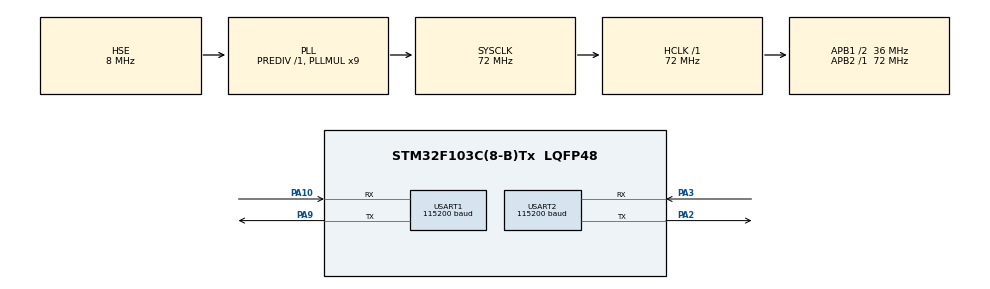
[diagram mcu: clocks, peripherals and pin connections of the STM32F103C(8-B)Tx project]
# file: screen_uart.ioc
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Mcu.Family=STM32F1
Mcu.Name=STM32F103C(8-B)Tx
Mcu.Package=LQFP48
NVIC.PriorityGroup=NVIC_PRIORITYGROUP_4
NVIC.USART1_IRQn=true\:1\:0\:true\:false\:true\:true\:true\:true
NVIC.USART2_IRQn=true\:1\:0\:true\:false\:true\:true\:true\:true
PA10.Mode=Asynchronous
PA10.Signal=USART1_RX
PA13.Mode=Serial_Wire
PA13.Signal=SYS_JTMS-SWDIO
PA14.Mode=Serial_Wire
PA14.Signal=SYS_JTCK-SWCLK
PA2.Mode=Asynchronous
PA2.Signal=USART2_TX
PA3.Mode=Asynchronous
PA3.Signal=USART2_RX
PA9.Mode=Asynchronous
PA9.Signal=USART1_TX
PD0-OSC_IN.Mode=HSE-External-Oscillator
PD0-OSC_IN.Signal=RCC_OSC_IN
PD1-OSC_OUT.Mode=HSE-External-Oscillator
PD1-OSC_OUT.Signal=RCC_OSC_OUT
ProjectManager.HeapSize=0x200
ProjectManager.StackSize=0x400
ProjectManager.TargetToolchain=MDK-ARM V5
RCC.AHBFreq_Value=72000000
RCC.APB1CLKDivider=RCC_HCLK_DIV2
RCC.APB1Freq_Value=36000000
RCC.APB1TimFreq_Value=72000000
RCC.APB2Freq_Value=72000000
RCC.APB2TimFreq_Value=72000000
RCC.HCLKFreq_Value=72000000
RCC.PLLMUL=RCC_PLL_MUL9
RCC.PLLSourceVirtual=RCC_PLLSOURCE_HSE
RCC.SYSCLKFreq_VALUE=72000000
RCC.SYSCLKSource=RCC_SYSCLKSOURCE_PLLCLK
RCC.USBFreq_Value=72000000
USART1.BaudRate=115200
USART1.VirtualMode=VM_ASYNC
USART2.BaudRate=115200
USART2.VirtualMode=VM_ASYNC
board=custom

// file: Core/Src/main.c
/* USER CODE BEGIN Header */
/**
  ******************************************************************************
  * @file           : main.c
  * @brief          : Main program body
  ******************************************************************************
  * @attention
  *
  * Copyright (c) 2024 STMicroelectronics.
  * All rights reserved.
  *
  * This software is licensed under terms that can be found in the LICENSE file
  * in the root directory of this software component.
  * If no LICENSE file comes with this software, it is provided AS-IS.
  *
  ******************************************************************************
  */
/* USER CODE END Header */
#include "main.h"

/* USER CODE BEGIN Includes */
#include "stdio.h"
#include "string.h"
#include "stdint.h"
#include "stdlib.h"
#include "receivedata.h"
#include "address.h"
#include "statusdisplay.h"
#include "Other.h"
#include "StateCheck.h"
#include "TimeCheck.h"
#include "StatusChanging.h"
#include "checksum.h"
#include "ResetData.h"
#include "DataCommand.h"
#include "checksum2.h"
#include "choice_selection.h"
#include "receivedata2.h"
#include "packagesending.h"
/* USER CODE END Includes */

UART_HandleTypeDef huart1;
UART_HandleTypeDef huart2;

void SystemClock_Config(void);
static void MX_GPIO_Init(void);
static void MX_USART1_UART_Init(void);
static void MX_USART2_UART_Init(void);

/* USER CODE BEGIN 0 */
//===========================VARIABLE===========================================

// transmit data signal (transmitted data)
uint8_t countState = 0;
uint8_t count = 0;
uint8_t success_failed_signal = 0;
 uint8_t TH0_signal;
 uint8_t TH1_signal;
 uint8_t TH2_signal;
 uint8_t TH3_signal;
// variable for choice(transmitted data)
uint8_t th0_Sent = 0; //ecide if TH1 and Th2 can be sent
//uint8_t Data_enough_Sent2 = 0;
//uint8_t th3_sent = 0;
// variable for error check
uint8_t working_signal = 0;
uint8_t countClear = 0;
uint8_t clear_flag= 0;
uint8_t flag = 0;
uint8_t Count_data = 0;
uint8_t data2;
uint8_t data;

// FUNCTION FOR CONTINUOUS DATA==================================================

void HAL_UART_RxCpltCallback(UART_HandleTypeDef *huart)
{

	if(huart->Instance == huart1.Instance)
{
		//uart_flag = 1;
		Working_count = 0;
		received_data(data);
		HAL_UART_Receive_IT(&huart1, &data, 1);

}
	   if(huart->Instance == huart2.Instance)
{

			received_data2(data2);
			HAL_UART_Receive_IT(&huart2, &data2,1);
 }

}

//void HAL_UART_ErrorCallback(UART_HandleTypeDef *huart)
//{

//    if (huart->Instance == USART2)
//    {
//        HAL_UART_Receive_IT(&huart2, &data2, 1);
//
//    }
//}

/* USER CODE END 0 */

int main(void)
{

  /* MCU Configuration--------------------------------------------------------*/

  /* Reset of all peripherals, Initializes the Flash interface and the Systick. */
  HAL_Init();

  /* Configure the system clock */
  SystemClock_Config();

  /* Initialize all configured peripherals */
  MX_GPIO_Init();
  MX_USART1_UART_Init();
  MX_USART2_UART_Init();
  /* USER CODE BEGIN 2 */
HAL_UART_Receive_IT(&huart1, &data, 1);
HAL_UART_Receive_IT(&huart2, &data2,1);
//HAL_UART_Receive_IT(&huart2, data_rx2,9);
//		super_flag = 0;
//	}
//	else
//			HAL_UART_Receive_IT(&huart2, data_rx2,6);
  /* USER CODE END 2 */

  /* Infinite loop */
  while (1)
  {

    /* USER CODE BEGIN 3 */

			if(Working_count == 4 )
			{
				timeCheck(&StartTime, data_rx);
			}

			if(uart_flag)
			{

				check_sum(data_rx, 6);
				DataCommand(data_rx);
				countClear =0;
				uart_flag = 0;
			}

			 if(uart_flag2)

			{
				uart_flag2 = 0;
				package_sending(data_rx2);

			}

		}

  /* USER CODE END 3 */
}

void SystemClock_Config(void)
{
  RCC_OscInitTypeDef RCC_OscInitStruct = {0};
  RCC_ClkInitTypeDef RCC_ClkInitStruct = {0};

  /** Initializes the RCC Oscillators according to the specified parameters
  * in the RCC_OscInitTypeDef structure.
  */
  RCC_OscInitStruct.OscillatorType = RCC_OSCILLATORTYPE_HSE;
  RCC_OscInitStruct.HSEState = RCC_HSE_ON;
  RCC_OscInitStruct.HSEPredivValue = RCC_HSE_PREDIV_DIV1;
  RCC_OscInitStruct.HSIState = RCC_HSI_ON;
  RCC_OscInitStruct.PLL.PLLState = RCC_PLL_ON;
  RCC_OscInitStruct.PLL.PLLSource = RCC_PLLSOURCE_HSE;
  RCC_OscInitStruct.PLL.PLLMUL = RCC_PLL_MUL9;
  if (HAL_RCC_OscConfig(&RCC_OscInitStruct) != HAL_OK)
  {
    Error_Handler();
  }

  /** Initializes the CPU, AHB and APB buses clocks
  */
  RCC_ClkInitStruct.ClockType = RCC_CLOCKTYPE_HCLK|RCC_CLOCKTYPE_SYSCLK
                              |RCC_CLOCKTYPE_PCLK1|RCC_CLOCKTYPE_PCLK2;
  RCC_ClkInitStruct.SYSCLKSource = RCC_SYSCLKSOURCE_PLLCLK;
  RCC_ClkInitStruct.AHBCLKDivider = RCC_SYSCLK_DIV1;
  RCC_ClkInitStruct.APB1CLKDivider = RCC_HCLK_DIV2;
  RCC_ClkInitStruct.APB2CLKDivider = RCC_HCLK_DIV1;

  if (HAL_RCC_ClockConfig(&RCC_ClkInitStruct, FLASH_LATENCY_2) != HAL_OK)
  {
    Error_Handler();
  }
}

static void MX_USART1_UART_Init(void)
{

  huart1.Instance = USART1;
  huart1.Init.BaudRate = 115200;
  huart1.Init.WordLength = UART_WORDLENGTH_8B;
  huart1.Init.StopBits = UART_STOPBITS_1;
  huart1.Init.Parity = UART_PARITY_NONE;
  huart1.Init.Mode = UART_MODE_TX_RX;
  huart1.Init.HwFlowCtl = UART_HWCONTROL_NONE;
  huart1.Init.OverSampling = UART_OVERSAMPLING_16;
  if (HAL_UART_Init(&huart1) != HAL_OK)
  {
    Error_Handler();
  }

}

static void MX_USART2_UART_Init(void)
{

  huart2.Instance = USART2;
  huart2.Init.BaudRate = 115200;
  huart2.Init.WordLength = UART_WORDLENGTH_8B;
  huart2.Init.StopBits = UART_STOPBITS_1;
  huart2.Init.Parity = UART_PARITY_NONE;
  huart2.Init.Mode = UART_MODE_TX_RX;
  huart2.Init.HwFlowCtl = UART_HWCONTROL_NONE;
  huart2.Init.OverSampling = UART_OVERSAMPLING_16;
  if (HAL_UART_Init(&huart2) != HAL_OK)
  {
    Error_Handler();
  }

}

static void MX_GPIO_Init(void)
{

  /* GPIO Ports Clock Enable */
  __HAL_RCC_GPIOD_CLK_ENABLE();
  __HAL_RCC_GPIOA_CLK_ENABLE();

}

void Error_Handler(void)
{
  __disable_irq();
  while (1)
  {
  }
}
